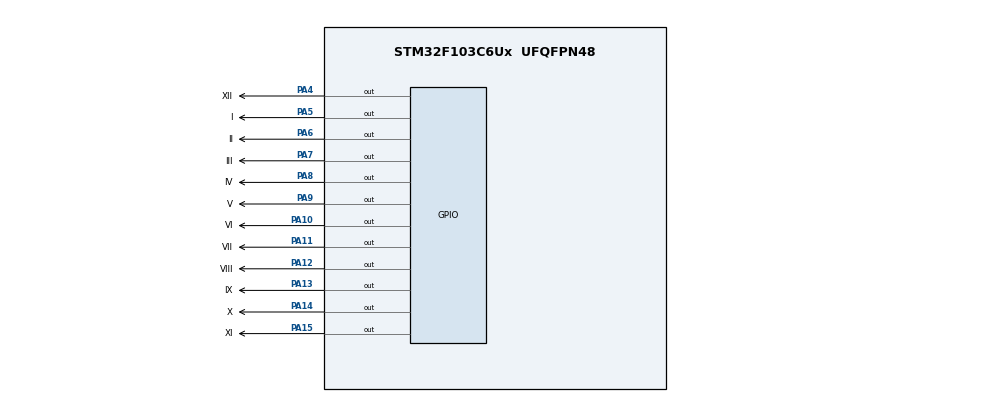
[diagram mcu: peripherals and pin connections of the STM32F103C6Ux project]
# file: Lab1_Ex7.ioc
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Mcu.Family=STM32F1
Mcu.Name=STM32F103C6Ux
Mcu.Package=UFQFPN48
NVIC.PriorityGroup=NVIC_PRIORITYGROUP_4
PA10.GPIO_Label=VI
PA10.Signal=GPIO_Output
PA11.GPIO_Label=VII
PA11.Signal=GPIO_Output
PA12.GPIO_Label=VIII
PA12.Signal=GPIO_Output
PA13.GPIO_Label=IX
PA13.Signal=GPIO_Output
PA14.GPIO_Label=X
PA14.Signal=GPIO_Output
PA15.GPIO_Label=XI
PA15.Signal=GPIO_Output
PA4.GPIO_Label=XII
PA4.Signal=GPIO_Output
PA5.GPIO_Label=I
PA5.Signal=GPIO_Output
PA6.GPIO_Label=II
PA6.Signal=GPIO_Output
PA7.GPIO_Label=III
PA7.Signal=GPIO_Output
PA8.GPIO_Label=IV
PA8.Signal=GPIO_Output
PA9.GPIO_Label=V
PA9.Signal=GPIO_Output
ProjectManager.HeapSize=0x200
ProjectManager.StackSize=0x400
ProjectManager.TargetToolchain=STM32CubeIDE
RCC.APB1Freq_Value=8000000
RCC.APB2Freq_Value=8000000
VP_SYS_VS_ND.Mode=No_Debug
board=custom

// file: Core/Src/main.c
/* USER CODE BEGIN Header */
/**
  ******************************************************************************
  * @file           : main.c
  * @brief          : Main program body
  ******************************************************************************
  * @attention
  *
  * <h2><center>&copy; Copyright (c) 2022 STMicroelectronics.
  * All rights reserved.</center></h2>
  *
  * This software component is licensed by ST under BSD 3-Clause license,
  * the "License"; You may not use this file except in compliance with the
  * License. You may obtain a copy of the License at:
  *                        opensource.org/licenses/BSD-3-Clause
  *
  ******************************************************************************
  */
/* USER CODE END Header */
#include "main.h"

void SystemClock_Config(void);
static void MX_GPIO_Init(void);

int main(void)
{

  /* MCU Configuration--------------------------------------------------------*/

  /* Reset of all peripherals, Initializes the Flash interface and the Systick. */
  HAL_Init();

  /* Configure the system clock */
  SystemClock_Config();

  /* Initialize all configured peripherals */
  MX_GPIO_Init();

  /* Infinite loop */
  /* USER CODE BEGIN WHILE */
  int second = 0,minutes = 0, hours = 0;
  while (1)
  {
    /* USER CODE END WHILE */

    /* USER CODE BEGIN 3 */
	  setNumberOnClock(second/5) ;
	  setNumberOnClock(minutes/5) ;
	  setNumberOnClock(hours) ;
	  if(second>=60){
		  minutes+=5;
		  second=0;
	  }
	  if(minutes>=60){
		  hours++;
		  minutes=0;
	  }
	  if(hours>=12){
		  hours=0;
	  }
	  second+=5;
	  HAL_Delay(1000);
	  clearAllClock();

  }
  /* USER CODE END 3 */
}

void SystemClock_Config(void)
{
  RCC_OscInitTypeDef RCC_OscInitStruct = {0};
  RCC_ClkInitTypeDef RCC_ClkInitStruct = {0};

  /** Initializes the RCC Oscillators according to the specified parameters
  * in the RCC_OscInitTypeDef structure.
  */
  RCC_OscInitStruct.OscillatorType = RCC_OSCILLATORTYPE_HSI;
  RCC_OscInitStruct.HSIState = RCC_HSI_ON;
  RCC_OscInitStruct.HSICalibrationValue = RCC_HSICALIBRATION_DEFAULT;
  RCC_OscInitStruct.PLL.PLLState = RCC_PLL_NONE;
  if (HAL_RCC_OscConfig(&RCC_OscInitStruct) != HAL_OK)
  {
    Error_Handler();
  }
  /** Initializes the CPU, AHB and APB buses clocks
  */
  RCC_ClkInitStruct.ClockType = RCC_CLOCKTYPE_HCLK|RCC_CLOCKTYPE_SYSCLK
                              |RCC_CLOCKTYPE_PCLK1|RCC_CLOCKTYPE_PCLK2;
  RCC_ClkInitStruct.SYSCLKSource = RCC_SYSCLKSOURCE_HSI;
  RCC_ClkInitStruct.AHBCLKDivider = RCC_SYSCLK_DIV1;
  RCC_ClkInitStruct.APB1CLKDivider = RCC_HCLK_DIV1;
  RCC_ClkInitStruct.APB2CLKDivider = RCC_HCLK_DIV1;

  if (HAL_RCC_ClockConfig(&RCC_ClkInitStruct, FLASH_LATENCY_0) != HAL_OK)
  {
    Error_Handler();
  }
}

static void MX_GPIO_Init(void)
{
  GPIO_InitTypeDef GPIO_InitStruct = {0};

  /* GPIO Ports Clock Enable */
  __HAL_RCC_GPIOA_CLK_ENABLE();

  /*Configure GPIO pin Output Level */
  HAL_GPIO_WritePin(GPIOA, XII_Pin|I_Pin|II_Pin|III_Pin
                          |IV_Pin|V_Pin|VI_Pin|VII_Pin
                          |VIII_Pin|IX_Pin|X_Pin|XI_Pin, GPIO_PIN_RESET);

  /*Configure GPIO pins : XII_Pin I_Pin II_Pin III_Pin
                           IV_Pin V_Pin VI_Pin VII_Pin
                           VIII_Pin IX_Pin X_Pin XI_Pin */
  GPIO_InitStruct.Pin = XII_Pin|I_Pin|II_Pin|III_Pin
                          |IV_Pin|V_Pin|VI_Pin|VII_Pin
                          |VIII_Pin|IX_Pin|X_Pin|XI_Pin;
  GPIO_InitStruct.Mode = GPIO_MODE_OUTPUT_PP;
  GPIO_InitStruct.Pull = GPIO_NOPULL;
  GPIO_InitStruct.Speed = GPIO_SPEED_FREQ_LOW;
  HAL_GPIO_Init(GPIOA, &GPIO_InitStruct);

}

/* USER CODE BEGIN 4 */
void clearAllClock () {
	  HAL_GPIO_WritePin(GPIOA, XII_Pin|I_Pin|II_Pin|III_Pin
	                          |IV_Pin|V_Pin|VI_Pin|VII_Pin
	                          |VIII_Pin|IX_Pin|X_Pin|XI_Pin, GPIO_PIN_RESET);
}

void setNumberOnClock(int num){
	switch (num) {
		case 12:
			HAL_GPIO_WritePin(GPIOA, XII_Pin, GPIO_PIN_SET);
			break;
		case 1:
			HAL_GPIO_WritePin(GPIOA, I_Pin, GPIO_PIN_SET);
			break;
		case 2:
			HAL_GPIO_WritePin(GPIOA, II_Pin, GPIO_PIN_SET);
			break;
		case 3:
			HAL_GPIO_WritePin(GPIOA, III_Pin, GPIO_PIN_SET);
			break;
		case 4:
			HAL_GPIO_WritePin(GPIOA, IV_Pin, GPIO_PIN_SET);
			break;
		case 5:
			HAL_GPIO_WritePin(GPIOA, V_Pin, GPIO_PIN_SET);
			break;
		case 6:
			HAL_GPIO_WritePin(GPIOA, VI_Pin, GPIO_PIN_SET);
			break;
		case 7:
			HAL_GPIO_WritePin(GPIOA, VII_Pin, GPIO_PIN_SET);
			break;
		case 8:
			HAL_GPIO_WritePin(GPIOA, VIII_Pin, GPIO_PIN_SET);
			break;
		case 9:
			HAL_GPIO_WritePin(GPIOA, IX_Pin, GPIO_PIN_SET);
			break;
		case 10:
			HAL_GPIO_WritePin(GPIOA, X_Pin, GPIO_PIN_SET);
			break;
		case 11:
			HAL_GPIO_WritePin(GPIOA, XI_Pin, GPIO_PIN_SET);
			break;
		case 0:
			HAL_GPIO_WritePin(GPIOA, XII_Pin, GPIO_PIN_SET);
			break;

		default:
			break;
	}
}
void clearNumberOnClock(int num){
	switch (num) {
		case 12:
			HAL_GPIO_WritePin(GPIOA, XII_Pin, GPIO_PIN_RESET);
			break;
		case 1:
			HAL_GPIO_WritePin(GPIOA, I_Pin, GPIO_PIN_RESET);
			break;
		case 2:
			HAL_GPIO_WritePin(GPIOA, II_Pin, GPIO_PIN_RESET);
			break;
		case 3:
			HAL_GPIO_WritePin(GPIOA, III_Pin, GPIO_PIN_RESET);
			break;
		case 4:
			HAL_GPIO_WritePin(GPIOA, IV_Pin, GPIO_PIN_RESET);
			break;
		case 5:
			HAL_GPIO_WritePin(GPIOA, V_Pin, GPIO_PIN_RESET);
			break;
		case 6:
			HAL_GPIO_WritePin(GPIOA, VI_Pin, GPIO_PIN_RESET);
			break;
		case 7:
			HAL_GPIO_WritePin(GPIOA, VII_Pin, GPIO_PIN_RESET);
			break;
		case 8:
			HAL_GPIO_WritePin(GPIOA, VIII_Pin, GPIO_PIN_RESET);
			break;
		case 9:
			HAL_GPIO_WritePin(GPIOA, IX_Pin, GPIO_PIN_RESET);
			break;
		case 10:
			HAL_GPIO_WritePin(GPIOA, X_Pin, GPIO_PIN_RESET);
			break;
		case 11:
			HAL_GPIO_WritePin(GPIOA, XI_Pin, GPIO_PIN_RESET);
			break;
		case 0:
			HAL_GPIO_WritePin(GPIOA, XII_Pin, GPIO_PIN_RESET);
			break;
		default:
			break;
	}
}
/* USER CODE END 4 */

void Error_Handler(void)
{
  __disable_irq();
  while (1)
  {
  }
}

/************************ (C) COPYRIGHT STMicroelectronics *****END OF FILE****/
